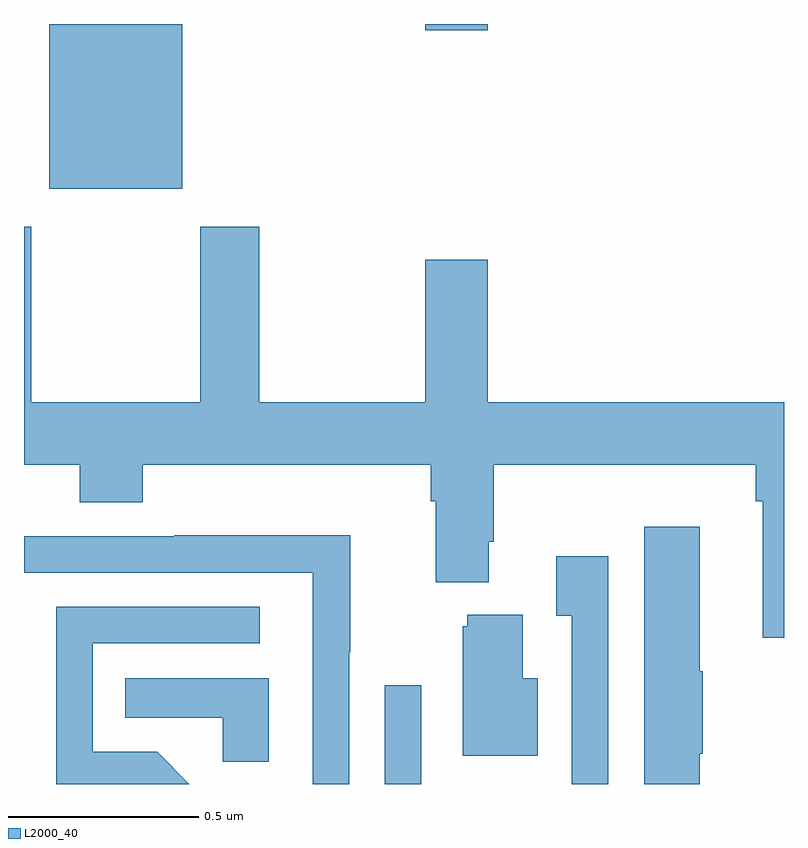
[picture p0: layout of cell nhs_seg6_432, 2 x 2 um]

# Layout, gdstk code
import gdstk
lib = gdstk.Library(unit=1e-6, precision=1e-09)
def R(c, l, rs):  # rectangles x0, y0, x1, y1
    for r in rs: c.add(gdstk.rectangle(r[:2], r[2:], *l))
def P(c, l, *ps):  # polygons
    for p in ps: c.add(gdstk.Polygon(p, *l))
L2000_40 = (2000, 40)

nhs_seg6_432 = lib.new_cell('nhs_seg6_432')
R(nhs_seg6_432, L2000_40, [(116.949,942.5,117.045,942.76), (116.066,944.066,116.416,944.5), (117.056,944.484,117.22,944.5)])
P(nhs_seg6_432, L2000_40, [(118,943.504),(117.22,943.504),(117.22,943.879),(117.056,943.879),(117.056,943.504),(116.619,943.504),(116.619,943.966),(116.464,943.966),(116.464,943.504),(116.019,943.504),(116.019,943.966),(116,943.966),(116,943.34),(116.147,943.34),(116.147,943.241),(116.312,943.241),(116.312,943.34),(117.071,943.34),(117.071,943.244),(117.083,943.244),(117.083,943.031),(117.223,943.031),(117.223,943.138),(117.236,943.138),(117.236,943.34),(117.925,943.34),(117.925,943.244),(117.944,943.244),(117.944,942.885),(118,942.885)],
  [(117.778,942.58),(117.786,942.58),(117.786,942.797),(117.778,942.797),(117.778,943.177),(117.632,943.177),(117.632,942.5),(117.778,942.5)],
  [(116.856,942.847),(116.859,942.847),(116.859,943.154),(116.395,943.154),(116.395,943.152),(116,943.152),(116,943.056),(116.76,943.056),(116.76,942.5),(116.856,942.5)],
  [(117.537,943.099),(117.401,943.099),(117.401,942.943),(117.441,942.943),(117.441,942.5),(117.537,942.5)],
  [(116.35,942.585),(116.181,942.585),(116.181,942.87),(116.62,942.87),(116.62,942.966),(116.085,942.966),(116.085,942.5),(116.435,942.5)],
  [(117.352,942.778),(117.313,942.778),(117.313,942.946),(117.167,942.946),(117.167,942.915),(117.155,942.915),(117.155,942.575),(117.352,942.575)],
  [(116.644,942.778),(116.266,942.778),(116.266,942.674),(116.523,942.674),(116.523,942.559),(116.644,942.559)])

lib.write_gds('nhs_seg6_432.gds')
